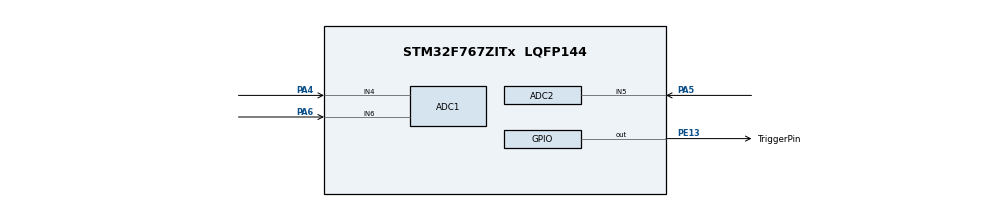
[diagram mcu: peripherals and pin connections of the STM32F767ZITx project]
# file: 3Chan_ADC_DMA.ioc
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ADC1.Channel-0\#ChannelRegularConversion=ADC_CHANNEL_4
ADC1.Channel-1\#ChannelRegularConversion=ADC_CHANNEL_6
ADC1.DMAContinuousRequests=ENABLE
ADC1.ExternalTrigConv=ADC_EXTERNALTRIGCONV_T1_TRGO
ADC1.NbrOfConversion=2
ADC1.NbrOfConversionFlag=1
ADC1.Rank-1\#ChannelRegularConversion=2
ADC1.SamplingTime-1\#ChannelRegularConversion=ADC_SAMPLETIME_3CYCLES
ADC1.master=1
ADC2.Channel-0\#ChannelRegularConversion=ADC_CHANNEL_5
ADC2.ExternalTrigConv=ADC_EXTERNALTRIGCONV_T1_TRGO
ADC2.NbrOfConversionFlag=1
ADC2.Rank-0\#ChannelRegularConversion=1
ADC2.SamplingTime-0\#ChannelRegularConversion=ADC_SAMPLETIME_3CYCLES
Dma.ADC1.0.Direction=DMA_PERIPH_TO_MEMORY
Dma.ADC1.0.FIFOMode=DMA_FIFOMODE_DISABLE
Dma.ADC1.0.Instance=DMA2_Stream0
Dma.ADC1.0.MemDataAlignment=DMA_MDATAALIGN_HALFWORD
Dma.ADC1.0.MemInc=DMA_MINC_ENABLE
Dma.ADC1.0.Mode=DMA_CIRCULAR
Dma.ADC1.0.PeriphDataAlignment=DMA_PDATAALIGN_HALFWORD
Dma.ADC1.0.PeriphInc=DMA_PINC_DISABLE
Dma.ADC1.0.Priority=DMA_PRIORITY_LOW
Dma.Request0=ADC1
Mcu.Family=STM32F7
Mcu.Name=STM32F767ZITx
Mcu.Package=LQFP144
NVIC.ADC_IRQn=true\:0\:0\:false\:false\:true\:true\:true\:true
NVIC.DMA2_Stream0_IRQn=true\:0\:0\:false\:false\:true\:false\:true\:true
NVIC.PriorityGroup=NVIC_PRIORITYGROUP_4
NVIC.TIM1_BRK_TIM9_IRQn=true\:0\:0\:false\:false\:true\:true\:true\:true
NVIC.TIM1_TRG_COM_TIM11_IRQn=true\:0\:0\:false\:false\:true\:true\:true\:true
PA13.Mode=Serial_Wire
PA13.Signal=SYS_JTMS-SWDIO
PA14.Mode=Serial_Wire
PA14.Signal=SYS_JTCK-SWCLK
PA4.Signal=ADCx_IN4
PA5.Signal=ADCx_IN5
PA6.Signal=ADCx_IN6
PE13.GPIO_Label=TriggerPin
PE13.Signal=GPIO_Output
ProjectManager.HeapSize=0x200
ProjectManager.StackSize=0x400
ProjectManager.TargetToolchain=STM32CubeIDE
RCC.HSE_VALUE=25000000
RCC.HSI_VALUE=16000000
RCC.LSE_VALUE=32768
RCC.USBFreq_Value=96000000
RCC.VCOOutputFreq_Value=192000000
SH.ADCx_IN4.0=ADC1_IN4,IN4
SH.ADCx_IN5.0=ADC2_IN5,IN5
SH.ADCx_IN6.0=ADC1_IN6,IN6
TIM1.Channel-PWM\ Generation1\ No\ Output=TIM_CHANNEL_1
TIM1.Period=10000-1
TIM1.TIM_MasterOutputTrigger=TIM_TRGO_UPDATE
VP_TIM1_VS_ClockSourceINT.Mode=Internal
VP_TIM1_VS_no_output1.Mode=PWM Generation1 No Output
board=custom

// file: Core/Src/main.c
/* USER CODE BEGIN Header */
/**
  ******************************************************************************
  * @file           : main.c
  * @brief          : Main program body
  ******************************************************************************
  * @attention
  *
  * Copyright (c) 2023 STMicroelectronics.
  * All rights reserved.
  *
  * This software is licensed under terms that can be found in the LICENSE file
  * in the root directory of this software component.
  * If no LICENSE file comes with this software, it is provided AS-IS.
  *
  ******************************************************************************
  */
/* USER CODE END Header */
#include "main.h"

/* USER CODE BEGIN PM */
uint16_t Adc1Results[2];
volatile uint16_t ADC2_val = 0;
//Debug Vars
volatile uint32_t timerInterupts = 0;
volatile uint32_t* DebugPtr  = &timerInterupts;
volatile uint32_t ADCInterupts = 0;
  ;
/* USER CODE END PM */

ADC_HandleTypeDef hadc1;
ADC_HandleTypeDef hadc2;
DMA_HandleTypeDef hdma_adc1;

TIM_HandleTypeDef htim1;

void SystemClock_Config(void);
static void MX_GPIO_Init(void);
static void MX_DMA_Init(void);
static void MX_ADC1_Init(void);
static void MX_ADC2_Init(void);
static void MX_TIM1_Init(void);

int main(void)
{

  /* MCU Configuration--------------------------------------------------------*/

  /* Reset of all peripherals, Initializes the Flash interface and the Systick. */
  HAL_Init();

  /* Configure the system clock */
  SystemClock_Config();

  /* Initialize all configured peripherals */
  MX_GPIO_Init();
  MX_DMA_Init();
  MX_ADC1_Init();
  MX_ADC2_Init();
  MX_TIM1_Init();
  /* USER CODE BEGIN 2 */
  //Start Periferals
  uint16_t DBGVAR1 = sizeof(Adc1Results) / sizeof(Adc1Results[0]);

  if (HAL_ADC_Start(&hadc2) != HAL_OK)
    Error_Handler();
  if (HAL_TIM_Base_Start_IT(&htim1) != HAL_OK)
    Error_Handler();
  if (HAL_TIM_PWM_Start(&htim1, TIM_CHANNEL_1) != HAL_OK)
    Error_Handler();
  if (HAL_ADC_Start_DMA(&hadc1, (uint32_t *)Adc1Results, sizeof(Adc1Results) / sizeof(Adc1Results[0])) != HAL_OK) //(uint32_t *)Adc1Results
    Error_Handler();

  HAL_GPIO_WritePin(GPIOE, GPIO_PIN_13, GPIO_PIN_RESET);
  /* USER CODE END 2 */

  /* Infinite loop */
  /* USER CODE BEGIN WHILE */
  uint16_t watchingVar = 0;
  watchingVar = Adc1Results[0];
  while (1)
  {
    HAL_ADC_Start_IT(&hadc2);
    //PeSnguin
    /* USER CODE END WHILE */

  }
}

void SystemClock_Config(void)
{
  RCC_OscInitTypeDef RCC_OscInitStruct = {0};
  RCC_ClkInitTypeDef RCC_ClkInitStruct = {0};

  /** Configure the main internal regulator output voltage
  */
  __HAL_RCC_PWR_CLK_ENABLE();
  __HAL_PWR_VOLTAGESCALING_CONFIG(PWR_REGULATOR_VOLTAGE_SCALE3);

  /** Initializes the RCC Oscillators according to the specified parameters
  * in the RCC_OscInitTypeDef structure.
  */
  RCC_OscInitStruct.OscillatorType = RCC_OSCILLATORTYPE_HSI;
  RCC_OscInitStruct.HSIState = RCC_HSI_ON;
  RCC_OscInitStruct.HSICalibrationValue = RCC_HSICALIBRATION_DEFAULT;
  RCC_OscInitStruct.PLL.PLLState = RCC_PLL_NONE;
  if (HAL_RCC_OscConfig(&RCC_OscInitStruct) != HAL_OK)
  {
    Error_Handler();
  }

  /** Initializes the CPU, AHB and APB buses clocks
  */
  RCC_ClkInitStruct.ClockType = RCC_CLOCKTYPE_HCLK|RCC_CLOCKTYPE_SYSCLK
                              |RCC_CLOCKTYPE_PCLK1|RCC_CLOCKTYPE_PCLK2;
  RCC_ClkInitStruct.SYSCLKSource = RCC_SYSCLKSOURCE_HSI;
  RCC_ClkInitStruct.AHBCLKDivider = RCC_SYSCLK_DIV1;
  RCC_ClkInitStruct.APB1CLKDivider = RCC_HCLK_DIV1;
  RCC_ClkInitStruct.APB2CLKDivider = RCC_HCLK_DIV1;

  if (HAL_RCC_ClockConfig(&RCC_ClkInitStruct, FLASH_LATENCY_0) != HAL_OK)
  {
    Error_Handler();
  }
}

static void MX_ADC1_Init(void)
{

  ADC_ChannelConfTypeDef sConfig = {0};

  /** Configure the global features of the ADC (Clock, Resolution, Data Alignment and number of conversion)
  */
  hadc1.Instance = ADC1;
  hadc1.Init.ClockPrescaler = ADC_CLOCK_SYNC_PCLK_DIV2;
  hadc1.Init.Resolution = ADC_RESOLUTION_12B;
  hadc1.Init.ScanConvMode = ADC_SCAN_ENABLE;
  hadc1.Init.ContinuousConvMode = DISABLE;
  hadc1.Init.DiscontinuousConvMode = DISABLE;
  hadc1.Init.ExternalTrigConvEdge = ADC_EXTERNALTRIGCONVEDGE_RISING;
  hadc1.Init.ExternalTrigConv = ADC_EXTERNALTRIGCONV_T1_TRGO;
  hadc1.Init.DataAlign = ADC_DATAALIGN_RIGHT;
  hadc1.Init.NbrOfConversion = 2;
  hadc1.Init.DMAContinuousRequests = ENABLE;
  hadc1.Init.EOCSelection = ADC_EOC_SINGLE_CONV;
  if (HAL_ADC_Init(&hadc1) != HAL_OK)
  {
    Error_Handler();
  }

  /** Configure for the selected ADC regular channel its corresponding rank in the sequencer and its sample time.
  */
  sConfig.Channel = ADC_CHANNEL_4;
  sConfig.Rank = ADC_REGULAR_RANK_1;
  sConfig.SamplingTime = ADC_SAMPLETIME_3CYCLES;
  if (HAL_ADC_ConfigChannel(&hadc1, &sConfig) != HAL_OK)
  {
    Error_Handler();
  }

  /** Configure for the selected ADC regular channel its corresponding rank in the sequencer and its sample time.
  */
  sConfig.Channel = ADC_CHANNEL_6;
  sConfig.Rank = ADC_REGULAR_RANK_2;
  if (HAL_ADC_ConfigChannel(&hadc1, &sConfig) != HAL_OK)
  {
    Error_Handler();
  }

}

static void MX_ADC2_Init(void)
{

  ADC_ChannelConfTypeDef sConfig = {0};

  /** Configure the global features of the ADC (Clock, Resolution, Data Alignment and number of conversion)
  */
  hadc2.Instance = ADC2;
  hadc2.Init.ClockPrescaler = ADC_CLOCK_SYNC_PCLK_DIV2;
  hadc2.Init.Resolution = ADC_RESOLUTION_12B;
  hadc2.Init.ScanConvMode = ADC_SCAN_DISABLE;
  hadc2.Init.ContinuousConvMode = DISABLE;
  hadc2.Init.DiscontinuousConvMode = DISABLE;
  hadc2.Init.ExternalTrigConvEdge = ADC_EXTERNALTRIGCONVEDGE_RISING;
  hadc2.Init.ExternalTrigConv = ADC_EXTERNALTRIGCONV_T1_TRGO;
  hadc2.Init.DataAlign = ADC_DATAALIGN_RIGHT;
  hadc2.Init.NbrOfConversion = 1;
  hadc2.Init.DMAContinuousRequests = DISABLE;
  hadc2.Init.EOCSelection = ADC_EOC_SINGLE_CONV;
  if (HAL_ADC_Init(&hadc2) != HAL_OK)
  {
    Error_Handler();
  }

  /** Configure for the selected ADC regular channel its corresponding rank in the sequencer and its sample time.
  */
  sConfig.Channel = ADC_CHANNEL_5;
  sConfig.Rank = ADC_REGULAR_RANK_1;
  sConfig.SamplingTime = ADC_SAMPLETIME_3CYCLES;
  if (HAL_ADC_ConfigChannel(&hadc2, &sConfig) != HAL_OK)
  {
    Error_Handler();
  }

}

static void MX_TIM1_Init(void)
{

  TIM_ClockConfigTypeDef sClockSourceConfig = {0};
  TIM_MasterConfigTypeDef sMasterConfig = {0};
  TIM_OC_InitTypeDef sConfigOC = {0};
  TIM_BreakDeadTimeConfigTypeDef sBreakDeadTimeConfig = {0};

  htim1.Instance = TIM1;
  htim1.Init.Prescaler = 0;
  htim1.Init.CounterMode = TIM_COUNTERMODE_UP;
  htim1.Init.Period = 10000-1;
  htim1.Init.ClockDivision = TIM_CLOCKDIVISION_DIV1;
  htim1.Init.RepetitionCounter = 0;
  htim1.Init.AutoReloadPreload = TIM_AUTORELOAD_PRELOAD_DISABLE;
  if (HAL_TIM_Base_Init(&htim1) != HAL_OK)
  {
    Error_Handler();
  }
  sClockSourceConfig.ClockSource = TIM_CLOCKSOURCE_INTERNAL;
  if (HAL_TIM_ConfigClockSource(&htim1, &sClockSourceConfig) != HAL_OK)
  {
    Error_Handler();
  }
  if (HAL_TIM_PWM_Init(&htim1) != HAL_OK)
  {
    Error_Handler();
  }
  sMasterConfig.MasterOutputTrigger = TIM_TRGO_UPDATE;
  sMasterConfig.MasterOutputTrigger2 = TIM_TRGO2_RESET;
  sMasterConfig.MasterSlaveMode = TIM_MASTERSLAVEMODE_DISABLE;
  if (HAL_TIMEx_MasterConfigSynchronization(&htim1, &sMasterConfig) != HAL_OK)
  {
    Error_Handler();
  }
  sConfigOC.OCMode = TIM_OCMODE_PWM1;
  sConfigOC.Pulse = 0;
  sConfigOC.OCPolarity = TIM_OCPOLARITY_HIGH;
  sConfigOC.OCNPolarity = TIM_OCNPOLARITY_HIGH;
  sConfigOC.OCFastMode = TIM_OCFAST_DISABLE;
  sConfigOC.OCIdleState = TIM_OCIDLESTATE_RESET;
  sConfigOC.OCNIdleState = TIM_OCNIDLESTATE_RESET;
  if (HAL_TIM_PWM_ConfigChannel(&htim1, &sConfigOC, TIM_CHANNEL_1) != HAL_OK)
  {
    Error_Handler();
  }
  sBreakDeadTimeConfig.OffStateRunMode = TIM_OSSR_DISABLE;
  sBreakDeadTimeConfig.OffStateIDLEMode = TIM_OSSI_DISABLE;
  sBreakDeadTimeConfig.LockLevel = TIM_LOCKLEVEL_OFF;
  sBreakDeadTimeConfig.DeadTime = 0;
  sBreakDeadTimeConfig.BreakState = TIM_BREAK_DISABLE;
  sBreakDeadTimeConfig.BreakPolarity = TIM_BREAKPOLARITY_HIGH;
  sBreakDeadTimeConfig.BreakFilter = 0;
  sBreakDeadTimeConfig.Break2State = TIM_BREAK2_DISABLE;
  sBreakDeadTimeConfig.Break2Polarity = TIM_BREAK2POLARITY_HIGH;
  sBreakDeadTimeConfig.Break2Filter = 0;
  sBreakDeadTimeConfig.AutomaticOutput = TIM_AUTOMATICOUTPUT_DISABLE;
  if (HAL_TIMEx_ConfigBreakDeadTime(&htim1, &sBreakDeadTimeConfig) != HAL_OK)
  {
    Error_Handler();
  }

}

static void MX_DMA_Init(void)
{

  /* DMA controller clock enable */
  __HAL_RCC_DMA2_CLK_ENABLE();

  /* DMA interrupt init */
  /* DMA2_Stream0_IRQn interrupt configuration */
  HAL_NVIC_SetPriority(DMA2_Stream0_IRQn, 0, 0);
  HAL_NVIC_EnableIRQ(DMA2_Stream0_IRQn);

}

static void MX_GPIO_Init(void)
{
  GPIO_InitTypeDef GPIO_InitStruct = {0};

  /* GPIO Ports Clock Enable */
  __HAL_RCC_GPIOA_CLK_ENABLE();
  __HAL_RCC_GPIOE_CLK_ENABLE();

  /*Configure GPIO pin Output Level */
  HAL_GPIO_WritePin(TriggerPin_GPIO_Port, TriggerPin_Pin, GPIO_PIN_RESET);

  /*Configure GPIO pin : TriggerPin_Pin */
  GPIO_InitStruct.Pin = TriggerPin_Pin;
  GPIO_InitStruct.Mode = GPIO_MODE_OUTPUT_PP;
  GPIO_InitStruct.Pull = GPIO_NOPULL;
  GPIO_InitStruct.Speed = GPIO_SPEED_FREQ_LOW;
  HAL_GPIO_Init(TriggerPin_GPIO_Port, &GPIO_InitStruct);

}

/* USER CODE BEGIN 4 */
void HAL_ADC_ConvCpltCallback(ADC_HandleTypeDef* hadc)
{
  asm("nop");
  ADC2_val = HAL_ADC_GetValue(&hadc2);
  ADCInterupts++;
}

/* USER CODE END 4 */

void Error_Handler(void)
{
  __disable_irq();
  while (1)
  {
  }
}
